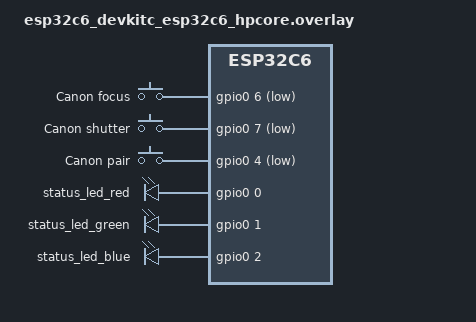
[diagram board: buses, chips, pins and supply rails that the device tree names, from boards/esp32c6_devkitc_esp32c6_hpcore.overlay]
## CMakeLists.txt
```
cmake_minimum_required(VERSION 3.20.0)

find_package(Zephyr REQUIRED HINTS $ENV{ZEPHYR_BASE})
project(canon_remote)

target_sources(app PRIVATE
    src/main.c
    src/canon/protocol.c
    src/canon/remote.c
    src/hardware/controls.c
    src/hardware/display.c
    src/hardware/indicator.c
    src/hardware/power.c
)

target_sources_ifdef(CONFIG_SHELL app PRIVATE src/shell_commands.c)

target_include_directories(app PRIVATE
    src
)

target_compile_options(app PRIVATE -Wall -Wextra -Werror)
```

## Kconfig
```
mainmenu "Canon BLE Remote"

source "Kconfig.zephyr"

config CANON_REMOTE_FIXED_IDENTITY
	bool "Use a fixed BLE identity for Canon interoperability"
	depends on BT_PRIVACY && BT_CENTRAL && BT_OBSERVER
	help
	  Use the controller identity address for active scanning and direct
	  connections while retaining privacy support for SMP identity-key
	  distribution. Some Canon cameras accept an IRK during pairing but do
	  not reliably resolve a remote's later resolvable private addresses.

config CANON_POWER_SAVE
	bool "Enter deep sleep after an idle timeout"
	depends on SOC_SERIES_ESP32C6 && POWEROFF
	help
	  Disconnect from the camera and enter ESP32-C6 deep sleep after the
	  controls and BLE operation have remained idle. A focus, shutter, or
	  pair button on an RTC-capable GPIO wakes the remote by resetting it.

config CANON_POWER_IDLE_TIMEOUT_SECONDS
	int "Idle timeout before deep sleep"
	depends on CANON_POWER_SAVE
	range 10 86400
	default 120
	help
	  Number of seconds without a pressed button or active BLE operation
	  before the remote disconnects and enters deep sleep.
```

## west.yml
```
manifest:
  version: "1.2"

  projects:
    - name: zephyr
      url: https://github.com/zephyrproject-rtos/zephyr
      revision: v4.2.0
      clone-depth: 1
      import:
        path-prefix: .zephyr
        name-allowlist:
          - cmsis
          - cmsis_6
          - hal_espressif
          - hal_nordic
          - mbedtls
          - tinycrypt

  self:
    path: firmware
```

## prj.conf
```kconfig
# Serial shell and logging
CONFIG_SERIAL=y
CONFIG_CONSOLE=y
CONFIG_UART_CONSOLE=y
CONFIG_SHELL=y
CONFIG_SHELL_BACKEND_SERIAL=y
CONFIG_SHELL_PROMPT_UART="canon-ble-remote> "
CONFIG_SHELL_CMD_BUFF_SIZE=128
CONFIG_SHELL_STACK_SIZE=4096
CONFIG_SHELL_HELP=y
CONFIG_SHELL_HELP_ON_WRONG_ARGUMENT_COUNT=y
CONFIG_LOG=y
CONFIG_LOG_DEFAULT_LEVEL=3
CONFIG_SHELL_LOG_BACKEND=y
CONFIG_LOG_BACKEND_UART=n

# BLE central, GATT client, pairing, bonding, and persistent keys
CONFIG_BT=y
CONFIG_BT_CENTRAL=y
CONFIG_BT_GATT_CLIENT=y
CONFIG_BT_MAX_CONN=1
CONFIG_BT_MAX_PAIRED=2
CONFIG_BT_SMP=y
CONFIG_BT_BONDABLE=y
CONFIG_BT_SETTINGS=y
CONFIG_BT_DEVICE_NAME="Canon Remote"
# Canon cameras use unauthenticated pairing and some models may use legacy SMP.
CONFIG_BT_SMP_SC_PAIR_ONLY=n
CONFIG_BT_SMP_ENFORCE_MITM=n
CONFIG_BT_CREATE_CONN_TIMEOUT=15
CONFIG_BT_ATT_TX_COUNT=4
# Refuse to overwrite a live Zephyr connection reference.
CONFIG_BT_CONN_CHECK_NULL_BEFORE_CREATE=y

# Zephyr settings store for both supported boards
CONFIG_FLASH=y
CONFIG_FLASH_MAP=y
CONFIG_FLASH_PAGE_LAYOUT=y
CONFIG_NVS=y
CONFIG_SETTINGS=y
CONFIG_SETTINGS_NVS=y

CONFIG_REBOOT=y
CONFIG_MAIN_STACK_SIZE=2048
CONFIG_SYSTEM_WORKQUEUE_STACK_SIZE=2048
```

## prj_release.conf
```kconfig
# BLE central, GATT client, pairing, bonding, and persistent keys
CONFIG_BT=y
CONFIG_BT_CENTRAL=y
CONFIG_BT_GATT_CLIENT=y
CONFIG_BT_MAX_CONN=1
CONFIG_BT_MAX_PAIRED=2
CONFIG_BT_SMP=y
CONFIG_BT_BONDABLE=y
CONFIG_BT_SETTINGS=y
CONFIG_BT_DEVICE_NAME="Canon Remote"
CONFIG_BT_SMP_SC_PAIR_ONLY=n
CONFIG_BT_SMP_ENFORCE_MITM=n
CONFIG_BT_CREATE_CONN_TIMEOUT=15
CONFIG_BT_ATT_TX_COUNT=4
CONFIG_BT_CONN_CHECK_NULL_BEFORE_CREATE=y

# Zephyr settings store
CONFIG_FLASH=y
CONFIG_FLASH_MAP=y
CONFIG_FLASH_PAGE_LAYOUT=y
CONFIG_NVS=y
CONFIG_SETTINGS=y
CONFIG_SETTINGS_NVS=y

# Product power behavior
CONFIG_CANON_POWER_SAVE=y
CONFIG_CANON_POWER_IDLE_TIMEOUT_SECONDS=30
CONFIG_POWEROFF=y

# Product firmware has no interactive shell or serial logging.
CONFIG_SERIAL=n
CONFIG_CONSOLE=n
CONFIG_UART_CONSOLE=n
CONFIG_SHELL=n
CONFIG_LOG=n
CONFIG_PRINTK=n
CONFIG_BOOT_BANNER=n

CONFIG_REBOOT=y
CONFIG_MAIN_STACK_SIZE=2048
CONFIG_SYSTEM_WORKQUEUE_STACK_SIZE=2048
```

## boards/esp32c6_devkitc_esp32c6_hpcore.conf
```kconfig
CONFIG_BT_DEVICE_NAME="ESP32C6 Remote"
```

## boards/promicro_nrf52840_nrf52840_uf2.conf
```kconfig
# USB CDC serial shell
CONFIG_BT_DEVICE_NAME="nRF52840 Remote"
CONFIG_UART_LINE_CTRL=y
CONFIG_USB_DEVICE_STACK=y
CONFIG_USB_DEVICE_INITIALIZE_AT_BOOT=y
CONFIG_SHELL_BACKEND_SERIAL_CHECK_DTR=y

# 128x64 SSD1306 status display on the board's D6/D7 I2C0 pins.
CONFIG_DISPLAY=y
CONFIG_SSD1306=y
CONFIG_CHARACTER_FRAMEBUFFER=y
CONFIG_CHARACTER_FRAMEBUFFER_USE_DEFAULT_FONTS=n
CONFIG_I2C_SHELL=y
CONFIG_HEAP_MEM_POOL_SIZE=2048

# Canon requires identity-key distribution but reconnects using a fixed address.
CONFIG_BT_PRIVACY=y
CONFIG_CANON_REMOTE_FIXED_IDENTITY=y

# Permit Zephyr's NVS settings backend to write internal flash.
CONFIG_MPU_ALLOW_FLASH_WRITE=y
```

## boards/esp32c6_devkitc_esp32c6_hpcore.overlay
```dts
#include <zephyr/dt-bindings/gpio/gpio.h>

/ {
	aliases {
		focus-button = &focus_button;
		shutter-button = &shutter_button;
		pair-button = &pair_button;
		status-led-red = &status_led_red;
		status-led-green = &status_led_green;
		status-led-blue = &status_led_blue;
	};

	canon_buttons {
		compatible = "gpio-keys";

		focus_button: focus_button {
			label = "Canon focus";
			gpios = <&gpio0 6 (GPIO_PULL_UP | GPIO_ACTIVE_LOW)>;
		};

		shutter_button: shutter_button {
			label = "Canon shutter";
			gpios = <&gpio0 7 (GPIO_PULL_UP | GPIO_ACTIVE_LOW)>;
		};

		pair_button: pair_button {
			label = "Canon pair";
			gpios = <&gpio0 4 (GPIO_PULL_UP | GPIO_ACTIVE_LOW)>;
		};
	};

	status_leds {
		compatible = "gpio-leds";

		status_led_red: red {
			gpios = <&gpio0 0 GPIO_ACTIVE_HIGH>;
		};

		status_led_green: green {
			gpios = <&gpio0 1 GPIO_ACTIVE_HIGH>;
		};

		status_led_blue: blue {
			gpios = <&gpio0 2 GPIO_ACTIVE_HIGH>;
		};
	};
};

/* The upstream board definition assigns GPIO2/GPIO6/GPIO7 to SPI2. */
&spi2 {
	status = "disabled";
};
```

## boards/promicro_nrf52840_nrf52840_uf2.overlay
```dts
#include <zephyr/dt-bindings/gpio/gpio.h>

/ {
	chosen {
		zephyr,display = &status_oled;
	};

	aliases {
		focus-button = &focus_button;
		shutter-button = &shutter_button;
		pair-button = &pair_button;
	};

	canon_buttons {
		compatible = "gpio-keys";

		focus_button: focus_button {
			label = "Canon focus";
			gpios = <&gpio0 20 (GPIO_PULL_UP | GPIO_ACTIVE_LOW)>;
		};

		shutter_button: shutter_button {
			label = "Canon shutter";
			gpios = <&gpio0 22 (GPIO_PULL_UP | GPIO_ACTIVE_LOW)>;
		};

		pair_button: pair_button {
			label = "Canon pair";
			gpios = <&gpio0 17 (GPIO_PULL_UP | GPIO_ACTIVE_LOW)>;
		};
	};
};

&i2c0 {
	status = "okay";

	status_oled: ssd1306@3c {
		compatible = "solomon,ssd1306fb";
		reg = <0x3c>;
		width = <128>;
		height = <64>;
		segment-offset = <0>;
		page-offset = <0>;
		display-offset = <0>;
		multiplex-ratio = <63>;
		segment-remap;
		com-invdir;
		prechargep = <0x22>;
	};
};
```

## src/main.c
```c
#include <zephyr/kernel.h>
#include <zephyr/logging/log.h>

#include "canon/remote.h"
#include "hardware/controls.h"
#include "hardware/display.h"
#include "hardware/indicator.h"
#include "hardware/power.h"

LOG_MODULE_REGISTER(main, LOG_LEVEL_INF);

int main(void)
{
    int result = hardware_power_initialize();
    if (result != 0) {
        LOG_ERR("Power management initialization failed: %d", result);
    }

    result = hardware_display_initialize();
    const bool display_ready = result == 0 && hardware_display_available();
    if (result != 0) {
        LOG_WRN("Status display unavailable: %d", result);
    }

    result = hardware_controls_initialize();
    if (result != 0) {
        LOG_ERR("Camera button initialization failed: %d", result);
    }

    result = hardware_indicator_initialize();
    const bool indicator_ready = result == 0 && hardware_indicator_available();
    if (result != 0) {
        LOG_WRN("Status LED unavailable: %d", result);
    }
    if (indicator_ready && hardware_power_woke_from_button()) {
        hardware_indicator_show_deep_sleep_wake();
    }

    const canon_remote_result_t remote_result = canon_remote_initialize();
    if (remote_result != CANON_REMOTE_OK) {
        LOG_ERR("Canon BLE initialization failed: %s",
                canon_remote_result_name(remote_result));
    } else {
        LOG_INF("Canon remote ready on %s", CONFIG_BOARD_TARGET);
    }

    if (display_ready) {
        result = hardware_display_start();
        if (result != 0) {
            LOG_WRN("Could not start status display: %d", result);
        }
    }

    if (remote_result == CANON_REMOTE_OK && hardware_controls_available()) {
        result = hardware_controls_start();
        if (result != 0) {
            LOG_ERR("Could not start camera buttons: %d", result);
        }
    }

    if (indicator_ready) {
        result = hardware_indicator_start();
        if (result != 0) {
            LOG_WRN("Could not start status LED: %d", result);
        }
    }

    if (remote_result == CANON_REMOTE_OK && hardware_controls_available()) {
        result = hardware_power_start();
        if (result != 0) {
            LOG_ERR("Could not start idle power management: %d", result);
        }
    }

    return 0;
}
```

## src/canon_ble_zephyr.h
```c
#ifndef CANON_BLE_ZEPHYR_H
#define CANON_BLE_ZEPHYR_H

#include <stdbool.h>
#include <stdint.h>

#define CANON_ZEPHYR_ADDRESS_TEXT_SIZE 30U

typedef enum {
    CANON_ZEPHYR_OK = 0,
    CANON_ZEPHYR_BUSY,
    CANON_ZEPHYR_NOT_READY,
    CANON_ZEPHYR_NOT_PAIRED,
    CANON_ZEPHYR_NOT_FOUND,
    CANON_ZEPHYR_TIMEOUT,
    CANON_ZEPHYR_INVALID_ARGUMENT,
    CANON_ZEPHYR_STACK_ERROR,
} canon_zephyr_result_t;

typedef struct {
    bool initialized;
    bool host_ready;
    bool paired;
    bool connected;
    bool encrypted;
    bool ready;
    bool scanning;
    bool busy;
    char camera_address[CANON_ZEPHYR_ADDRESS_TEXT_SIZE];
    int last_ble_error;
} canon_zephyr_status_t;

canon_zephyr_result_t canon_ble_zephyr_initialize(void);
canon_zephyr_result_t canon_ble_zephyr_pair(uint32_t scan_seconds);
canon_zephyr_result_t canon_ble_zephyr_connect(void);
canon_zephyr_result_t canon_ble_zephyr_disconnect(void);
canon_zephyr_result_t canon_ble_zephyr_forget(void);
canon_zephyr_result_t canon_ble_zephyr_shutter(void);
canon_zephyr_result_t canon_ble_zephyr_focus(void);
void canon_ble_zephyr_get_status(canon_zephyr_status_t *status);
const char *canon_ble_zephyr_result_name(canon_zephyr_result_t result);

#endif
```

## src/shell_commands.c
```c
#include <errno.h>
#include <stdlib.h>
#include <string.h>

#include <zephyr/kernel.h>
#include <zephyr/shell/shell.h>
#include <zephyr/sys/reboot.h>
#include <zephyr/version.h>

#include "canon/remote.h"

#define DEFAULT_SCAN_SECONDS 15U
#define MAX_SCAN_SECONDS 60U

static int print_result(const struct shell *shell, const char *operation,
                        canon_remote_result_t result)
{
    if (result == CANON_REMOTE_OK) {
        shell_print(shell, "%s succeeded", operation);
        return 0;
    }

    canon_remote_status_t status;
    canon_remote_get_status(&status);
    if (status.last_ble_error != 0) {
        shell_error(shell, "%s failed: %s (Zephyr BLE error %d)",
                    operation, canon_remote_result_name(result),
                    status.last_ble_error);
    } else {
        shell_error(shell, "%s failed: %s", operation,
                    canon_remote_result_name(result));
    }
    return -ENOEXEC;
}

static int parse_scan_seconds(const char *text, uint32_t *seconds)
{
    char *end = NULL;
    errno = 0;
    const unsigned long value = strtoul(text, &end, 10);
    if (errno != 0 || end == text || *end != '\0' || value == 0U ||
        value > MAX_SCAN_SECONDS) {
        return -EINVAL;
    }
    *seconds = (uint32_t)value;
    return 0;
}

static int command_camera_pair(const struct shell *shell, size_t argc,
                               char **argv)
{
    uint32_t seconds = DEFAULT_SCAN_SECONDS;
    if (argc == 2U && parse_scan_seconds(argv[1], &seconds) != 0) {
        shell_error(shell, "seconds must be between 1 and %u",
                    MAX_SCAN_SECONDS);
        return -EINVAL;
    }

    shell_print(shell, "Put the camera in Bluetooth Remote pairing mode.");
    shell_print(shell, "Scanning for the Canon service for %u seconds...",
                seconds);
    return print_result(shell, "Pairing",
                        canon_remote_pair(seconds));
}

static int command_camera_connect(const struct shell *shell, size_t argc,
                                  char **argv)
{
    (void)argc;
    (void)argv;
    return print_result(shell, "Connection", canon_remote_connect());
}

static int command_camera_shutter(const struct shell *shell, size_t argc,
                                  char **argv)
{
    if (argc == 1U) {
        return print_result(shell, "Shutter", canon_remote_shutter());
    }

    bool pressed;
    if (strcmp(argv[1], "press") == 0) {
        pressed = true;
    } else if (strcmp(argv[1], "release") == 0) {
        pressed = false;
    } else {
        shell_error(shell, "usage: camera shutter [press|release]");
        return -EINVAL;
    }

    const canon_remote_result_t result = canon_remote_set_button(
        CANON_REMOTE_BUTTON_SHUTTER, pressed);
    if (result != CANON_REMOTE_OK) {
        return print_result(shell, "Shutter input", result);
    }
    shell_print(shell, "Shutter %s queued", pressed ? "press" : "release");
    return 0;
}

static int command_camera_focus(const struct shell *shell, size_t argc,
                                char **argv)
{
    if (argc == 1U) {
        return print_result(shell, "Focus", canon_remote_focus());
    }

    bool pressed;
    if (strcmp(argv[1], "press") == 0) {
        pressed = true;
    } else if (strcmp(argv[1], "release") == 0) {
        pressed = false;
    } else {
        shell_error(shell, "usage: camera focus [press|release]");
        return -EINVAL;
    }

    const canon_remote_result_t result = canon_remote_set_button(
        CANON_REMOTE_BUTTON_FOCUS, pressed);
    if (result != CANON_REMOTE_OK) {
        return print_result(shell, "Focus input", result);
    }
    shell_print(shell, "Focus %s queued", pressed ? "press" : "release");
    return 0;
}

static int command_camera_status(const struct shell *shell, size_t argc,
                                 char **argv)
{
    (void)argc;
    (void)argv;

    canon_remote_status_t status;
    canon_remote_get_status(&status);
    shell_print(shell, "BLE service: %s",
                status.initialized ? "initialized" : "unavailable");
    shell_print(shell, "BLE host:    %s",
                status.host_ready ? "ready" : "not ready");
    shell_print(shell, "Paired:      %s", status.paired ? "yes" : "no");
    shell_print(shell, "Camera:      %s",
                status.paired ? status.camera_address : "<none>");
    shell_print(shell, "Connection:  %s",
                status.connected ? "connected" : "disconnected");
    shell_print(shell, "Encrypted:   %s",
                status.encrypted ? "yes" : "no");
    shell_print(shell, "Control:     %s",
                status.ready ? "ready" : "not ready");
    shell_print(shell, "Scanning:    %s",
                status.scanning ? "yes" : "no");
    shell_print(shell, "Operation:   %s", status.busy ? "busy" : "idle");
    shell_print(shell, "Focus input: %s",
                status.focus_requested ? "pressed" : "released");
    shell_print(shell, "Focus sent:  %s",
                status.focus_applied ? "pressed" : "released");
    shell_print(shell, "Shutter input: %s",
                status.shutter_requested ? "pressed" : "released");
    shell_print(shell, "Shutter sent:  %s",
                status.shutter_applied ? "pressed" : "released");
    if (status.last_ble_error != 0) {
        shell_print(shell, "Last Zephyr BLE error: %d",
                    status.last_ble_error);
    }
    return 0;
}

static int command_camera_disconnect(const struct shell *shell, size_t argc,
                                     char **argv)
{
    (void)argc;
    (void)argv;
    return print_result(shell, "Disconnect",
                        canon_remote_disconnect());
}

static int command_camera_forget(const struct shell *shell, size_t argc,
                                 char **argv)
{
    (void)argc;
    (void)argv;
    return print_result(shell, "Forget", canon_remote_forget());
}

static int command_camera_help(const struct shell *shell, size_t argc,
                               char **argv)
{
    (void)argc;
    (void)argv;
    shell_print(shell, "Canon camera commands:");
    shell_print(shell, "  camera pair [seconds]");
    shell_print(shell, "  camera connect");
    shell_print(shell, "  camera shutter [press|release]");
    shell_print(shell, "  camera focus [press|release]");
    shell_print(shell, "  camera status");
    shell_print(shell, "  camera disconnect");
    shell_print(shell, "  camera forget");
    return 0;
}

SHELL_STATIC_SUBCMD_SET_CREATE(
    camera_subcommands,
    SHELL_CMD_ARG(pair, NULL, "Pair a Canon camera [seconds]",
                  command_camera_pair, 1, 1),
    SHELL_CMD(connect, NULL, "Connect to the saved camera",
              command_camera_connect),
    SHELL_CMD_ARG(shutter, NULL,
                  "Pulse shutter or queue [press|release]",
                  command_camera_shutter, 1, 1),
    SHELL_CMD_ARG(focus, NULL, "Pulse focus or queue [press|release]",
                  command_camera_focus, 1, 1),
    SHELL_CMD(status, NULL, "Show camera connection state",
              command_camera_status),
    SHELL_CMD(disconnect, NULL, "Close the camera connection",
              command_camera_disconnect),
    SHELL_CMD(forget, NULL, "Remove the saved camera and BLE bond",
              command_camera_forget),
    SHELL_CMD(help, NULL, "Show Canon camera commands", command_camera_help),
    SHELL_SUBCMD_SET_END);

SHELL_CMD_REGISTER(camera, &camera_subcommands,
                   "Pair and control a Canon camera over BLE", NULL);

static int command_sysinfo(const struct shell *shell, size_t argc, char **argv)
{
    (void)argc;
    (void)argv;
    shell_print(shell, "Target: %s", CONFIG_BOARD_TARGET);
    shell_print(shell, "Zephyr: %s", KERNEL_VERSION_STRING);
    shell_print(shell, "Uptime: %lld s",
                (long long)(k_uptime_get() / 1000));
    return 0;
}

SHELL_CMD_REGISTER(sysinfo, NULL, "Show target, Zephyr, and uptime",
                   command_sysinfo);

static int command_reboot(const struct shell *shell, size_t argc, char **argv)
{
    (void)argc;
    (void)argv;
    shell_print(shell, "Restarting...");
    k_msleep(50);
    sys_reboot(SYS_REBOOT_COLD);
    return 0;
}

SHELL_CMD_REGISTER(reboot, NULL, "Restart the board", command_reboot);
```
